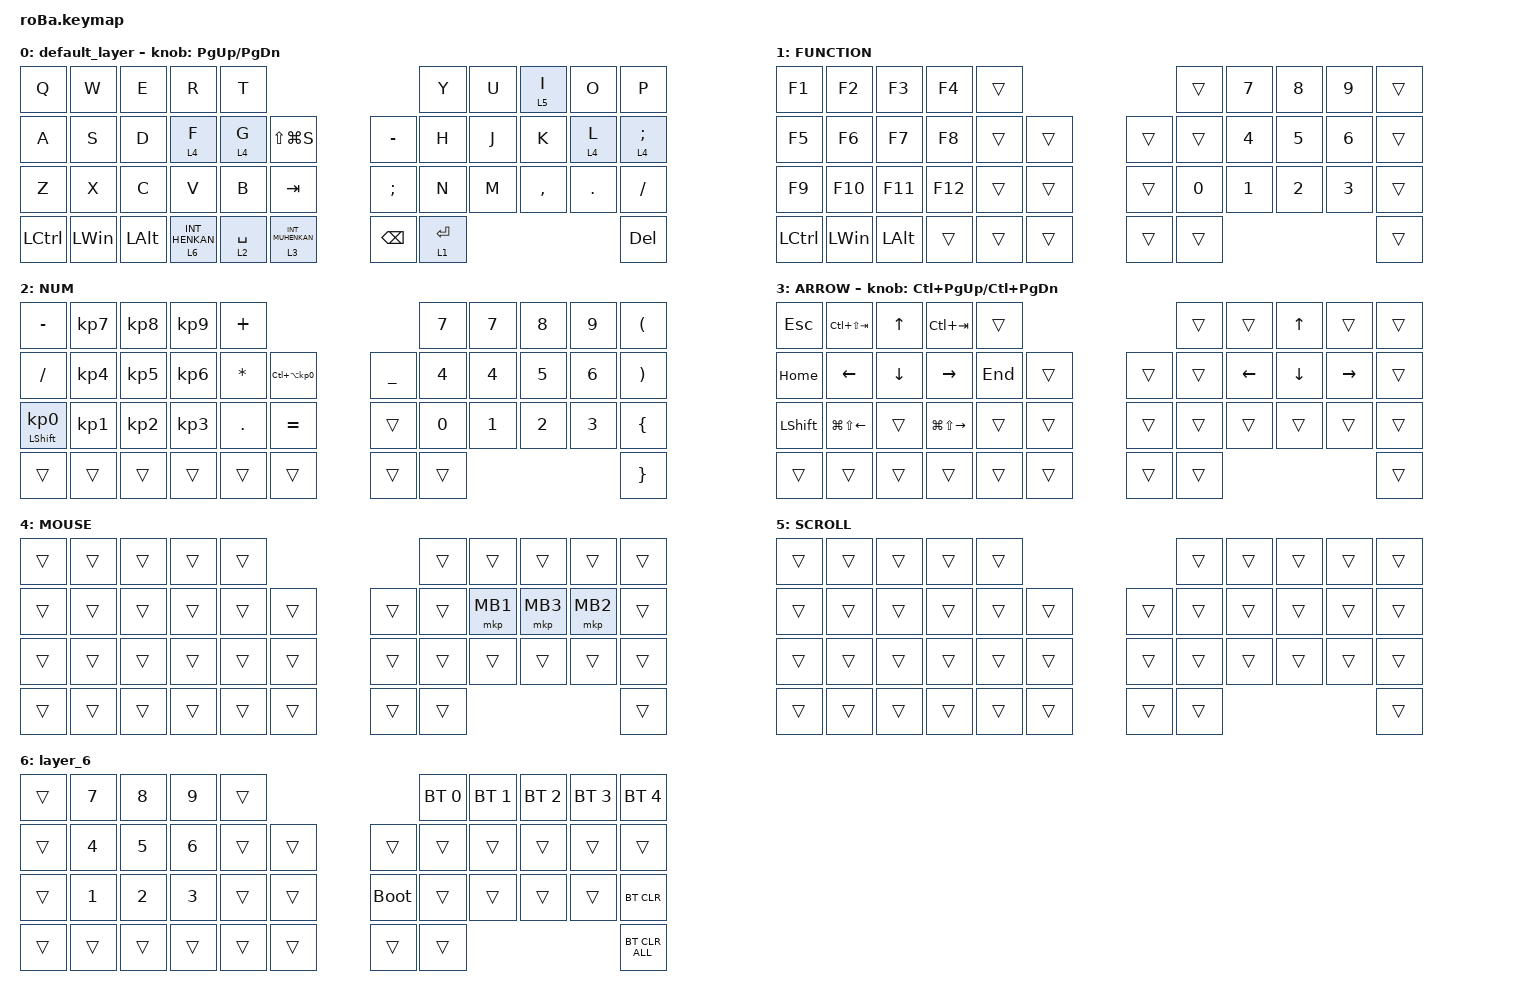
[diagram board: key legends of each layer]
#include <behaviors.dtsi>
#include <dt-bindings/zmk/bt.h>
#include <dt-bindings/zmk/keys.h>
#include <dt-bindings/zmk/pointing.h>

#define MOUSE 4
#define SCROLL 5
#define NUM 6

&mt {
    flavor = "balanced";
    quick-tap-ms = <0>;
};

/ {
    combos {
        compatible = "zmk,combos";

        tab {
            bindings = <&kp TAB>;
            key-positions = <11 12>;
        };

        shift_tab {
            bindings = <&kp LS(TAB)>;
            key-positions = <12 13>;
        };

        muhennkann {
            bindings = <&to_layer_0 INT_MUHENKAN>;
            key-positions = <11 10>;
        };

        double_quotation {
            bindings = <&kp DOUBLE_QUOTES>;
            key-positions = <20 21>;
        };

        eq {
            bindings = <&kp EQUAL>;
            key-positions = <24 25>;
        };
    };

    macros {
        to_layer_0: to_layer_0 {
            compatible = "zmk,behavior-macro-one-param";
            #binding-cells = <1>;
            bindings = <&to 0 &macro_param_1to1 &kp MACRO_PLACEHOLDER>;
            label = "TO_LAYER_0";
        };
    };

    behaviors {
        lt_to_layer_0: lt_to_layer_0 {
            compatible = "zmk,behavior-hold-tap";
            label = "LAYER_TAP_TO_0";
            bindings = <&mo>, <&to_layer_0>;

            #binding-cells = <2>;
            tapping-term-ms = <200>;
        };
    };

    keymap {
        compatible = "zmk,keymap";

        default_layer {
            bindings = <
&kp Q      &kp W         &kp E         &kp R                        &kp T                                                          &kp Y        &kp U  &lt 5 I    &kp O    &kp P
&kp A      &kp S         &kp D         &lt 4 F                      &lt 4 G      &kp LS(LG(S))                      &kp MINUS      &kp H        &kp J  &kp K      &lt 4 L  &lt 4 SEMICOLON
&kp Z      &kp X         &kp C         &kp V                        &kp B        &kp TAB                            &kp SEMICOLON  &kp N        &kp M  &kp COMMA  &kp DOT  &kp SLASH
&kp LCTRL  &kp LEFT_WIN  &kp LEFT_ALT  &lt_to_layer_0 6 INT_HENKAN  &lt 2 SPACE  &lt_to_layer_0 3 INT_MUHENKAN      &kp BACKSPACE  &lt 1 ENTER                             &kp DEL
            >;

            sensor-bindings = <&inc_dec_kp PG_UP PAGE_DOWN>;
        };

        FUNCTION {
            bindings = <
&kp F1     &kp F2        &kp F3        &kp F4   &trans                      &trans        &kp NUMBER_7  &kp NUMBER_8  &kp NUMBER_9  &trans
&kp F5     &kp F6        &kp F7        &kp F8   &trans  &trans      &trans  &trans        &kp NUMBER_4  &kp NUMBER_5  &kp NUMBER_6  &trans
&kp F9     &kp F10       &kp F11       &kp F12  &trans  &trans      &trans  &kp NUMBER_0  &kp NUMBER_1  &kp NUMBER_2  &kp NUMBER_3  &trans
&kp LCTRL  &kp LEFT_WIN  &kp LEFT_ALT  &trans   &trans  &trans      &trans  &trans                                                  &trans
            >;
        };

        NUM {
            bindings = <
&kp MINUS                   &kp KP_NUMBER_7  &kp KP_NUMBER_8  &kp KP_NUMBER_9  &kp PLUS                                                   &kp NUMBER_7  &kp NUMBER_7  &kp NUMBER_8  &kp NUMBER_9  &kp LEFT_PARENTHESIS
&kp SLASH                   &kp KP_NUMBER_4  &kp KP_NUMBER_5  &kp KP_NUMBER_6  &kp ASTERISK  &kp LC(LA(KP_NUMBER_0))      &kp UNDERSCORE  &kp NUMBER_4  &kp NUMBER_4  &kp NUMBER_5  &kp NUMBER_6  &kp RIGHT_PARENTHESIS
&mt LEFT_SHIFT KP_NUMBER_0  &kp KP_NUMBER_1  &kp KP_NUMBER_2  &kp KP_NUMBER_3  &kp PERIOD    &kp EQUAL                    &trans          &kp NUMBER_0  &kp NUMBER_1  &kp NUMBER_2  &kp NUMBER_3  &kp LEFT_BRACE
&trans                      &trans           &trans           &trans           &trans        &trans                       &trans          &trans                                                  &kp RIGHT_BRACE
            >;
        };

        ARROW {
            bindings = <
&kp ESCAPE      &kp LC(LS(TAB))         &kp UP_ARROW    &kp LC(TAB)              &trans                       &trans  &trans          &kp UP_ARROW    &trans           &trans
&kp HOME        &kp LEFT_ARROW          &kp DOWN_ARROW  &kp RIGHT_ARROW          &kp END  &trans      &trans  &trans  &kp LEFT_ARROW  &kp DOWN_ARROW  &kp RIGHT_ARROW  &trans
&kp LEFT_SHIFT  &kp LG(LS(LEFT_ARROW))  &trans          &kp LG(LS(RIGHT_ARROW))  &trans   &trans      &trans  &trans  &trans          &trans          &trans           &trans
&trans          &trans                  &trans          &trans                   &trans   &trans      &trans  &trans                                                   &trans
            >;

            sensor-bindings = <&inc_dec_kp LC(PAGE_UP) LC(PAGE_DOWN)>;
        };

        MOUSE {
            bindings = <
&trans  &trans  &trans  &trans  &trans                      &trans  &trans    &trans    &trans    &trans
&trans  &trans  &trans  &trans  &trans  &trans      &trans  &trans  &mkp MB1  &mkp MB3  &mkp MB2  &trans
&trans  &trans  &trans  &trans  &trans  &trans      &trans  &trans  &trans    &trans    &trans    &trans
&trans  &trans  &trans  &trans  &trans  &trans      &trans  &trans                                &trans
            >;
        };

        SCROLL {
            bindings = <
&trans  &trans  &trans  &trans  &trans                      &trans  &trans  &trans  &trans  &trans
&trans  &trans  &trans  &trans  &trans  &trans      &trans  &trans  &trans  &trans  &trans  &trans
&trans  &trans  &trans  &trans  &trans  &trans      &trans  &trans  &trans  &trans  &trans  &trans
&trans  &trans  &trans  &trans  &trans  &trans      &trans  &trans                          &trans
            >;
        };

        layer_6 {
            bindings = <
&trans  &kp NUMBER_7  &kp NUMBER_8  &kp NUMBER_9  &trans                           &bt BT_SEL 0  &bt BT_SEL 1  &bt BT_SEL 2  &bt BT_SEL 3  &bt BT_SEL 4
&trans  &kp NUMBER_4  &kp NUMBER_5  &kp NUMBER_6  &trans  &trans      &trans       &trans        &trans        &trans        &trans        &trans
&trans  &kp NUMBER_1  &kp NUMBER_2  &kp NUMBER_3  &trans  &trans      &bootloader  &trans        &trans        &trans        &trans        &bt BT_CLR
&trans  &trans        &trans        &trans        &trans  &trans      &trans       &trans                                                  &bt BT_CLR_ALL
            >;
        };
    };
};
